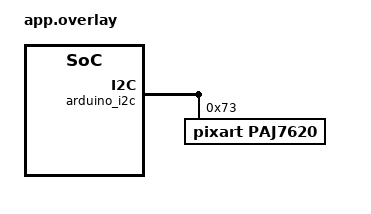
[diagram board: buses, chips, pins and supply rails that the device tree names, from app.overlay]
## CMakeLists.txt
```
 # SPDX-FileCopyrightText: Copyright (c) 2025 Jilay Sandeep Pandya
 # SPDX-License-Identifier: Apache-2.0

cmake_minimum_required(VERSION 3.28.3)

find_package(Zephyr REQUIRED HINTS $ENV{ZEPHYR_BASE})
project(stepper_generic)

FILE(GLOB app_sources src/*.c)
target_sources(app PRIVATE ${app_sources})
```

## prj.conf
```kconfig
CONFIG_STEPPER=y
CONFIG_LOG=y
CONFIG_INPUT=y
CONFIG_I2C=y
CONFIG_SENSOR=y
CONFIG_PAJ7620=y
CONFIG_PAJ7620_TRIGGER_NONE=y

CONFIG_STEP_INTERVAL_NS=3000000
CONFIG_MONITOR_THREAD_STACK_SIZE=4096
CONFIG_MONITOR_THREAD_TIMEOUT_MS=1000

# Enable stack protection to catch overflow issues
CONFIG_HW_STACK_PROTECTION=y
CONFIG_STACK_SENTINEL=y

# Increase main stack size for safety
CONFIG_MAIN_STACK_SIZE=4096

# Enable thread monitoring for debugging
CONFIG_THREAD_MONITOR=y
CONFIG_THREAD_STACK_INFO=y
```

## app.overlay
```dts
&arduino_i2c {
        status = "okay";

        paj7620: paj7620@73 {
                compatible = "pixart,paj7620";
                reg = <0x73>;
                // int-gpios = <&gpioa 9 (GPIO_PULL_UP)>;
        };
};
```

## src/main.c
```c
/*
 * SPDX-FileCopyrightText: Copyright (c) 2025 Jilay Sandeep Pandya.
 * SPDX-License-Identifier: Apache-2.0
 */

#include <zephyr/device.h>
#include <zephyr/drivers/gpio.h>
#include <zephyr/drivers/stepper.h>
#include <zephyr/drivers/sensor.h>
#include <zephyr/drivers/sensor/paj7620.h>
#include <zephyr/kernel.h>

#include <zephyr/logging/log.h>
LOG_MODULE_REGISTER(stepper_gesture, CONFIG_STEPPER_LOG_LEVEL);

static const struct device *stepper = DEVICE_DT_GET(DT_ALIAS(stepper));
static const struct device *gesture_sensor = DEVICE_DT_GET_ONE(pixart_paj7620);

#define GESTURE_POLL_TIME_MS   50
#define MIN_STEP_INTERVAL_NS   100000   /* 100 microseconds minimum */
#define MAX_STEP_INTERVAL_NS   10000000 /* 10 milliseconds maximum */
#define STEP_INTERVAL_DELTA_NS 500000   /* 500 microseconds increment */

enum stepper_state {
	STEPPER_STATE_STOPPED,
	STEPPER_STATE_RUNNING_CW,
	STEPPER_STATE_RUNNING_CCW,
};

static atomic_t stepper_state = ATOMIC_INIT(STEPPER_STATE_STOPPED);
static atomic_t step_interval_ns = ATOMIC_INIT(CONFIG_STEP_INTERVAL_NS);
static atomic_t stepper_enabled = ATOMIC_INIT(0);

static void stepper_callback(const struct device *dev, const enum stepper_event event,
			     void *user_data)
{
	ARG_UNUSED(dev);
	ARG_UNUSED(user_data);

	switch (event) {
	case STEPPER_EVENT_STEPS_COMPLETED:
		LOG_DBG("Steps completed");
		break;
	case STEPPER_EVENT_STOPPED:
		LOG_DBG("Stepper stopped");
		break;
	case STEPPER_EVENT_FAULT_DETECTED:
		LOG_WRN("Stepper fault detected");
		break;
	default:
		LOG_WRN("Unknown stepper event: %d", event);
		break;
	}
}

static void handle_gesture_up(void)
{
	/* Accelerate - decrease step interval */
	int32_t current_interval = atomic_get(&step_interval_ns);
	int32_t new_interval = current_interval - STEP_INTERVAL_DELTA_NS;

	if (new_interval < MIN_STEP_INTERVAL_NS) {
		new_interval = MIN_STEP_INTERVAL_NS;
	}

	atomic_set(&step_interval_ns, new_interval);
	int ret = stepper_set_microstep_interval(stepper, new_interval);
	if (ret != 0) {
		LOG_ERR("Failed to set step interval: %d", ret);
		return;
	}
	LOG_INF("Accelerate: step interval now %d ns", new_interval);
}

static void handle_gesture_down(void)
{
	/* Decelerate - increase step interval */
	int32_t current_interval = atomic_get(&step_interval_ns);
	int32_t new_interval = current_interval + STEP_INTERVAL_DELTA_NS;

	if (new_interval > MAX_STEP_INTERVAL_NS) {
		new_interval = MAX_STEP_INTERVAL_NS;
	}

	atomic_set(&step_interval_ns, new_interval);
	int ret = stepper_set_microstep_interval(stepper, new_interval);
	if (ret != 0) {
		LOG_ERR("Failed to set step interval: %d", ret);
		return;
	}
	LOG_INF("Decelerate: step interval now %d ns", new_interval);
}

static void handle_gesture_clockwise(void)
{
	/* Change direction to clockwise */
	atomic_set(&stepper_state, STEPPER_STATE_RUNNING_CW);
	if (atomic_get(&stepper_enabled) == 1) {
		int ret = stepper_run(stepper, STEPPER_DIRECTION_POSITIVE);
		if (ret != 0) {
			LOG_ERR("Failed to run stepper clockwise: %d", ret);
			return;
		}
		LOG_INF("Direction: Clockwise");
	}
}

static void handle_gesture_counterclockwise(void)
{
	/* Change direction to counter-clockwise */
	atomic_set(&stepper_state, STEPPER_STATE_RUNNING_CCW);
	if (atomic_get(&stepper_enabled) == 1) {
		int ret = stepper_run(stepper, STEPPER_DIRECTION_NEGATIVE);
		if (ret != 0) {
			LOG_ERR("Failed to run stepper counter-clockwise: %d", ret);
			return;
		}
		LOG_INF("Direction: Counter-clockwise");
	}
}

static void handle_gesture_forward(void)
{
	/* Start stepper */
	if (atomic_get(&stepper_enabled) == 0) {
		int ret = stepper_enable(stepper);
		if (ret != 0) {
			LOG_ERR("Failed to enable stepper: %d", ret);
			return;
		}
		atomic_set(&stepper_enabled, 1);
		LOG_INF("Stepper enabled");
	}

	enum stepper_state state = atomic_get(&stepper_state);
	int ret;
	switch (state) {
	case STEPPER_STATE_RUNNING_CW:
		ret = stepper_run(stepper, STEPPER_DIRECTION_POSITIVE);
		if (ret != 0) {
			LOG_ERR("Failed to start stepper clockwise: %d", ret);
			return;
		}
		LOG_INF("Started: Clockwise");
		break;
	case STEPPER_STATE_RUNNING_CCW:
		ret = stepper_run(stepper, STEPPER_DIRECTION_NEGATIVE);
		if (ret != 0) {
			LOG_ERR("Failed to start stepper counter-clockwise: %d", ret);
			return;
		}
		LOG_INF("Started: Counter-clockwise");
		break;
	default:
		/* Default to clockwise if no direction set */
		atomic_set(&stepper_state, STEPPER_STATE_RUNNING_CW);
		ret = stepper_run(stepper, STEPPER_DIRECTION_POSITIVE);
		if (ret != 0) {
			LOG_ERR("Failed to start stepper (default clockwise): %d", ret);
			return;
		}
		LOG_INF("Started: Clockwise (default)");
		break;
	}
}

static void handle_gesture_backward(void)
{
	/* Stop stepper */
	int ret = stepper_stop(stepper);
	if (ret != 0) {
		LOG_ERR("Failed to stop stepper: %d", ret);
		return;
	}
	atomic_set(&stepper_state, STEPPER_STATE_STOPPED);
	LOG_INF("Stepper stopped");
}

static void process_gestures(uint16_t gest_flags)
{
	if ((gest_flags & PAJ7620_FLAG_GES_UP) != 0) {
		handle_gesture_up();
	}
	if ((gest_flags & PAJ7620_FLAG_GES_DOWN) != 0) {
		handle_gesture_down();
	}
	if ((gest_flags & PAJ7620_FLAG_GES_CLOCKWISE) != 0) {
		handle_gesture_clockwise();
	}
	if ((gest_flags & PAJ7620_FLAG_GES_COUNTERCLOCKWISE) != 0) {
		handle_gesture_counterclockwise();
	}
	if ((gest_flags & PAJ7620_FLAG_GES_FORWARD) != 0) {
		handle_gesture_forward();
	}
	if ((gest_flags & PAJ7620_FLAG_GES_BACKWARD) != 0) {
		handle_gesture_backward();
	}
}

static void gesture_polling_loop(void)
{
	struct sensor_value data;
	int retry_count = 0;
	const int max_retries = 5;

	while (1) {
		int ret = sensor_sample_fetch(gesture_sensor);
		if (ret < 0) {
			LOG_ERR("sensor_sample_fetch failed: %d", ret);
			retry_count++;
			if (retry_count >= max_retries) {
				LOG_ERR("Too many sensor failures, continuing anyway");
				retry_count = 0;
			}
			k_msleep(GESTURE_POLL_TIME_MS);
			continue;
		}

		ret = sensor_channel_get(gesture_sensor,
					 (enum sensor_channel)SENSOR_CHAN_PAJ7620_GESTURES, &data);
		if (ret < 0) {
			LOG_ERR("sensor_channel_get failed: %d", ret);
			retry_count++;
			if (retry_count >= max_retries) {
				LOG_ERR("Too many sensor failures, continuing anyway");
				retry_count = 0;
			}
			k_msleep(GESTURE_POLL_TIME_MS);
			continue;
		}

		retry_count = 0; /* Reset retry count on successful read */

		if (data.val1 != 0) {
			process_gestures(data.val1);
		}

		k_msleep(GESTURE_POLL_TIME_MS);
	}
}

int main(void)
{
	LOG_INF("Starting stepper with gesture control sample");

	/* Check stepper device */
	if (!device_is_ready(stepper)) {
		LOG_ERR("Stepper device %s is not ready", stepper->name);
		return -ENODEV;
	}
	LOG_INF("Stepper device: %s", stepper->name);

	/* Check gesture sensor device */
	if (!device_is_ready(gesture_sensor)) {
		LOG_ERR("Gesture sensor device %s is not ready", gesture_sensor->name);
		return -ENODEV;
	}
	LOG_INF("Gesture sensor device: %s", gesture_sensor->name);

	/* Initialize stepper with error checking */
	int ret = stepper_set_event_callback(stepper, stepper_callback, NULL);
	if (ret != 0) {
		LOG_ERR("Failed to set stepper callback: %d", ret);
		return ret;
	}

	ret = stepper_set_reference_position(stepper, 0);
	if (ret != 0) {
		LOG_ERR("Failed to set reference position: %d", ret);
		return ret;
	}

	ret = stepper_set_microstep_interval(stepper, CONFIG_STEP_INTERVAL_NS);
	if (ret != 0) {
		LOG_ERR("Failed to set microstep interval: %d", ret);
		return ret;
	}

	LOG_INF("Gesture controls:");
	LOG_INF("  UP    - Accelerate");
	LOG_INF("  DOWN  - Decelerate");
	LOG_INF("  CW    - Clockwise direction");
	LOG_INF("  CCW   - Counter-clockwise direction");
	LOG_INF("  FORWARD  - Start stepper");
	LOG_INF("  BACKWARD - Stop stepper");

	/* Start gesture polling loop */
	gesture_polling_loop();

	return 0;
}

static void monitor_thread(void)
{
	for (;;) {
		int32_t actual_position;

		int ret = stepper_get_actual_position(stepper, &actual_position);
		if (ret == 0) {
			LOG_DBG("Actual position: %d", actual_position);
		} else {
			LOG_WRN("Failed to get stepper position: %d", ret);
		}
		k_sleep(K_MSEC(CONFIG_MONITOR_THREAD_TIMEOUT_MS));
	}
}

K_THREAD_DEFINE(monitor_tid, CONFIG_MONITOR_THREAD_STACK_SIZE, monitor_thread, NULL, NULL, NULL, 5,
		0, 0);
```
